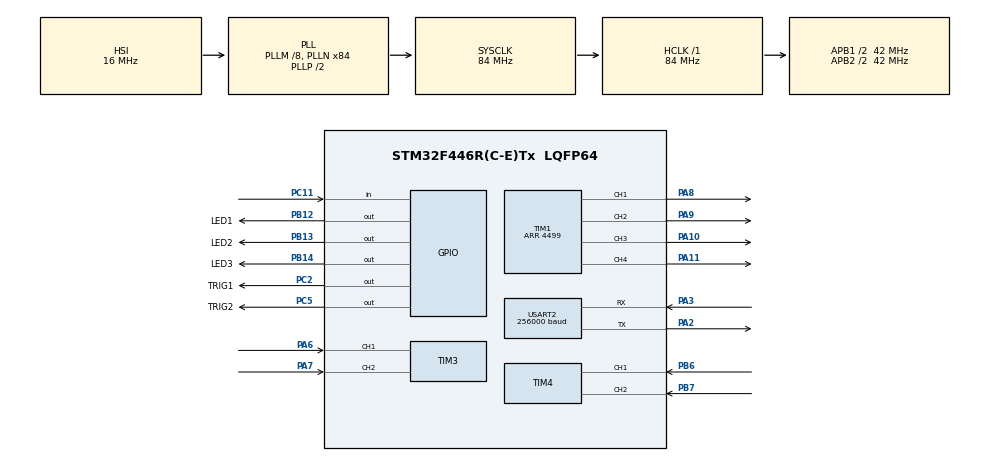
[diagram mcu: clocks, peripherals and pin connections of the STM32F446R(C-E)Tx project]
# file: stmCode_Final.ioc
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Dma.Request0=USART2_RX
Dma.Request1=USART2_TX
Dma.USART2_RX.0.Direction=DMA_PERIPH_TO_MEMORY
Dma.USART2_RX.0.FIFOMode=DMA_FIFOMODE_DISABLE
Dma.USART2_RX.0.Instance=DMA1_Stream5
Dma.USART2_RX.0.MemDataAlignment=DMA_MDATAALIGN_BYTE
Dma.USART2_RX.0.MemInc=DMA_MINC_ENABLE
Dma.USART2_RX.0.Mode=DMA_CIRCULAR
Dma.USART2_RX.0.PeriphDataAlignment=DMA_PDATAALIGN_BYTE
Dma.USART2_RX.0.PeriphInc=DMA_PINC_DISABLE
Dma.USART2_RX.0.Priority=DMA_PRIORITY_HIGH
Dma.USART2_TX.1.Direction=DMA_MEMORY_TO_PERIPH
Dma.USART2_TX.1.FIFOMode=DMA_FIFOMODE_DISABLE
Dma.USART2_TX.1.Instance=DMA1_Stream6
Dma.USART2_TX.1.MemDataAlignment=DMA_MDATAALIGN_BYTE
Dma.USART2_TX.1.MemInc=DMA_MINC_ENABLE
Dma.USART2_TX.1.Mode=DMA_NORMAL
Dma.USART2_TX.1.PeriphDataAlignment=DMA_PDATAALIGN_BYTE
Dma.USART2_TX.1.PeriphInc=DMA_PINC_DISABLE
Dma.USART2_TX.1.Priority=DMA_PRIORITY_HIGH
Mcu.Family=STM32F4
Mcu.Name=STM32F446R(C-E)Tx
Mcu.Package=LQFP64
NVIC.DMA1_Stream5_IRQn=true\:0\:0\:false\:false\:true\:false\:true\:true
NVIC.DMA1_Stream6_IRQn=true\:0\:0\:false\:false\:true\:false\:true\:true
NVIC.PriorityGroup=NVIC_PRIORITYGROUP_4
NVIC.TIM5_IRQn=true\:0\:0\:false\:false\:true\:true\:true\:true
NVIC.TIM7_IRQn=true\:0\:0\:false\:false\:true\:true\:true\:true
NVIC.USART2_IRQn=true\:0\:0\:false\:false\:true\:true\:true\:true
PA10.Signal=S_TIM1_CH3
PA11.Signal=S_TIM1_CH4
PA2.Mode=Asynchronous
PA2.Signal=USART2_TX
PA3.Mode=Asynchronous
PA3.Signal=USART2_RX
PA6.GPIO_PuPd=GPIO_PULLUP
PA6.Signal=S_TIM3_CH1
PA7.GPIO_PuPd=GPIO_PULLUP
PA7.Signal=S_TIM3_CH2
PA8.Signal=S_TIM1_CH1
PA9.Signal=S_TIM1_CH2
PB12.GPIO_Label=LED1
PB12.Signal=GPIO_Output
PB13.GPIO_Label=LED2
PB13.Signal=GPIO_Output
PB14.GPIO_Label=LED3
PB14.Signal=GPIO_Output
PB6.GPIO_PuPd=GPIO_PULLUP
PB6.Signal=S_TIM4_CH1
PB7.GPIO_PuPd=GPIO_PULLUP
PB7.Signal=S_TIM4_CH2
PC11.GPIO_PuPd=GPIO_PULLDOWN
PC11.Signal=GPIO_Input
PC2.GPIO_Label=TRIG1
PC2.Signal=GPIO_Output
PC5.GPIO_Label=TRIG2
PC5.Signal=GPIO_Output
PH0-OSC_IN.Mode=HSE-External-Oscillator
PH0-OSC_IN.Signal=RCC_OSC_IN
PH1-OSC_OUT.Mode=HSE-External-Oscillator
PH1-OSC_OUT.Signal=RCC_OSC_OUT
ProjectManager.HeapSize=0x200
ProjectManager.StackSize=0x400
ProjectManager.TargetToolchain=STM32CubeIDE
RCC.AHBFreq_Value=84000000
RCC.APB1CLKDivider=RCC_HCLK_DIV2
RCC.APB1Freq_Value=42000000
RCC.APB1TimFreq_Value=84000000
RCC.APB2CLKDivider=RCC_HCLK_DIV2
RCC.APB2Freq_Value=42000000
RCC.APB2TimFreq_Value=84000000
RCC.CortexFreq_Value=84000000
RCC.HCLKFreq_Value=84000000
RCC.PLLM=8
RCC.PLLN=84
RCC.SYSCLKFreq_VALUE=84000000
RCC.SYSCLKSource=RCC_SYSCLKSOURCE_PLLCLK
RCC.USBFreq_Value=84000000
RCC.VCOOutputFreq_Value=168000000
SH.S_TIM1_CH1.0=TIM1_CH1,PWM Generation1 CH1
SH.S_TIM1_CH2.0=TIM1_CH2,PWM Generation2 CH2
SH.S_TIM1_CH3.0=TIM1_CH3,PWM Generation3 CH3
SH.S_TIM1_CH4.0=TIM1_CH4,PWM Generation4 CH4
SH.S_TIM3_CH1.0=TIM3_CH1,Encoder_Interface
SH.S_TIM3_CH2.0=TIM3_CH2,Encoder_Interface
SH.S_TIM4_CH1.0=TIM4_CH1,Encoder_Interface
SH.S_TIM4_CH2.0=TIM4_CH2,Encoder_Interface
TIM1.Channel-PWM\ Generation1\ CH1=TIM_CHANNEL_1
TIM1.Channel-PWM\ Generation2\ CH2=TIM_CHANNEL_2
TIM1.Channel-PWM\ Generation3\ CH3=TIM_CHANNEL_3
TIM1.Channel-PWM\ Generation4\ CH4=TIM_CHANNEL_4
TIM1.Period=4499
TIM3.EncoderMode=TIM_ENCODERMODE_TI12
TIM4.EncoderMode=TIM_ENCODERMODE_TI12
TIM5.Period=65535
TIM5.Prescaler=0
TIM7.Period=999
TIM7.Prescaler=83
USART2.BaudRate=256000
USART2.VirtualMode=VM_ASYNC
VP_TIM5_VS_ClockSourceINT.Mode=Internal
VP_TIM7_VS_ClockSourceINT.Mode=Enable_Timer
board=NUCLEO-F446RE

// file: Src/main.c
/* USER CODE BEGIN Header */
/**
  ****************************************************************************
  * @file           : main.c
  * @brief          : Main program body
  ****************************************************************************
  * @attention
  *
  * <h2><center>&copy; Copyright (c) 2020 STMicroelectronics.
  * All rights reserved.</center></h2>
  *
  * This software component is licensed by ST under BSD 3-Clause license,
  * the "License"; You may not use this file except in compliance with the
  * License. You may obtain a copy of the License at:
  *                        opensource.org/licenses/BSD-3-Clause
  *
  ****************************************************************************
  */
//hahalolnoob
//tabdilaaaaa
//yametekudasai
/* USER CODE END Header */
#include "main.h"
#include "dma.h"
#include "tim.h"
#include "usart.h"
#include "gpio.h"

/* USER CODE BEGIN Includes */
#include "Odometry.h"
#include "Robot_Navi_Euro20.h"
#include "Motors.h"
#include <stdbool.h>
#include <stmRos.h>

#include <stmRos.h>

extern int sum;
extern bool evitementFlag;
extern volatile float current_x;
extern volatile float current_y;
extern volatile float left_radius,right_radius,spacing_encoder,spacing_wheel;

extern float** matrix;
int taille;
extern float Vx;
extern float Vz;
float PWMR,PWML,PWM_linear,PWM_angular;
int PWM;
int PWM_Min=950;
extern uint32_t right_forward;
extern uint32_t right_backward;
extern uint32_t left_forward;
extern uint32_t left_backward;
extern TIM_HandleTypeDef* htim_Motors;

extern int right_correction,left_correction;
extern volatile float total_right,d_right_counter;
extern volatile float total_left,d_left_counter,total_centre;
extern int PWM_LB,PWM_RB;
extern int coef_correct_dist;
extern volatile long total_right_count;
extern volatile long total_left_count;
extern float test;

extern volatile float spacing_wheel;

double right_error1=0;
double i_right_error1=0;
double left_error1=0;
double i_left_error1=0;

extern float kp, ki;
float kpros=2, kiros=0;
extern volatile double left_speed,left_encoder_speed;
extern volatile double right_speed,right_encoder_speed;
extern volatile long t;
unsigned long long int delta=0,t0=0;
extern int PWM_L,PWM_R;
extern int i ;
extern char buf[64];

extern double v_rx ;
extern double omega_r ;

/* USER CODE END Includes */

/* USER CODE BEGIN PV */
/* Private variables ---------------------------------------------------------*/

/* USER CODE END PV */

void SystemClock_Config(void);
/* USER CODE BEGIN PFP */
/* Private function prototypes -----------------------------------------------*/

/* USER CODE END PFP */

/* USER CODE BEGIN 0 */

char uartBuf[100];

/* USER CODE END 0 */

int main(void)
{
  /* USER CODE BEGIN 1 */
	//uint32_t numTicks=0;

  /* USER CODE END 1 */

  /* MCU Configuration--------------------------------------------------------*/

  /* Reset of all peripherals, Initializes the Flash interface and the Systick. */
  HAL_Init();

  /* Configure the system clock */
  SystemClock_Config();

  /* Initialize all configured peripherals */
  MX_GPIO_Init();
  MX_DMA_Init();
  MX_USART2_UART_Init();
  MX_TIM3_Init();
  MX_TIM4_Init();
  MX_TIM7_Init();
  MX_TIM1_Init();
  MX_TIM5_Init();
  /* USER CODE BEGIN 2 */
  //set_dimentions(40,40,290,195);//291.28//291.35//39.98,39.37

    //robot kbir
    set_dimentions(40.45,40.1,252.5,105.5);//40.36836,40.59922,265,120.2 ROBOT PRINCIPAL
        set_motors(&htim1,4499,TIM_CHANNEL_3,TIM_CHANNEL_4,TIM_CHANNEL_1,TIM_CHANNEL_2);
        set_right_encoder(&htim3,TIM3,400,4,-1);//400 ROBOT KBIR
        set_left_encoder(&htim4,TIM4,400,4,-1);
        HAL_TIM_Base_Start_IT(&htim7);
        set_PWM_min (200,200,200,200);

        setup();

        //orientate(0,500);
//        HAL_Delay(1000);
//
//        orientate(-90,500);
//        HAL_Delay(1000);
//
//        orientate(180,500);
//        HAL_Delay(1000);
//
//        orientate(90,500);
//        HAL_Delay(1000);
 // run_forward(1000, 1000);

  //rotate(360,100);
//  move_distance(1000,550);
// rotate(180,350);

 //  Robot_Locate(500, 500, 500);
//Robot_Locate(0, 1000, 500);

//HAL_Delay(100);
//ledblink();
 //move_distance(1000, 500);
 //HAL_Delay(100);
 //calcul_distance2();
 //HAL_Delay(100);
 //calculultrason();
 //HAL_Delay(400);
 //move_distance(300,600);
 //HAL_Delay(100);
 //calcul_distance2();
 //HAL_Delay(100);
 //calculultrason();
  //HAL_Delay(400);
 //move_distance(300, 600);
 //HAL_Delay(100);
 //calcul_distance2();
 //HAL_Delay(100);
 //calculultrason();
  //HAL_Delay(400);
 //move_distance(300, 600);
 //HAL_Delay(5000);
 //HAL_GPIO_WritePin(LED_GPIO_Port2, LED_Pin2, GPIO_PIN_RESET);
 /*HAL_GPIO_WritePin(LED_GPIO_Port1, LED_Pin1, GPIO_PIN_RESET);
 HAL_GPIO_WritePin(LED_GPIO_Port3, LED_Pin3, GPIO_PIN_RESET);
 move_distance(850, 600);
 rotate(90, 300);
 calcul_cube();
 rotate(91.5,400); // hethiiiiiiiiiiiiiiiiiiiiiiiiiiiiiiiiiiiiiiiiiiiiiiiiiiiii 88
 move_distance(2020,600);
 rotate(90,500);
 //Robot_locateCurv(40, -460,90, 500);
 Robot_locateCurv(-10, -1000,85, 600);
 orientate(90,500);
 asta3(500, 300);
 //Robot_Locate_Multi_Curv(l, 2, 500);
 move_distance(-400,600);
 rotate(90,500);
 move_distance(640, 600);
 HAL_Delay(5000);
 move_distance(-640, 600);
 rotate(90,500);
 move_distance(660, 600);
 rotate(-90,500);move_distance(500,500);
 move_distance(1950, 600);
 rotate(-90,500);
 move_distance(1430, 600);
 rotate(-90,500);
 move_distance(1950, 600);
 //orientate(-90,300);
 //hez_cube();
 //move_distance(900, 500);
 //hot_cube();
  //move_distance(-430, 300);
 //orientate(0, 300);
 //move_distance(640, 500);
*/
// loop();
 	// run_forward(3000, 3000);
// 	HAL_Delay(1500);
 //      PWM_R=-4000;
 	//  PWM_L=4000;
 //	 	run_motors();
//	 	 HAL_Delay(5000);
// 	stop_motors();
// 	 	HAL_Delay(1500);
 	 //	PWM_R=2000;
	 //	 	 PWM_L=2000;
 	 	// run_motors();
// 	 	 	 HAL_Delay(1500);
// 	 	 	 stop_motors();
// 	 	 	HAL_Delay(1500);
//        		 PWM_R=2000;
// 	 	 	 	 PWM_L=-2000;
// 	 	 	 	 run_motors();
// 	 	 	 	 HAL_Delay(5000);
// 	 	 	 	 stop_motors();
// 	 	 	 	HAL_Delay(1500);
     //move_distance(500, 300);
  /* USER CODE END 2 */

  /* Infinite loop */
  /* USER CODE BEGIN WHILE */
  while (1)
  {
	  //move_distance(500,500);
	 loop();
//	 HAL_Delay(5);//badel delay

    /* USER CODE END WHILE */

    /* USER CODE BEGIN 3 */

	 //tasliiiiiiiii7
  }

  /* USER CODE END 3 */
}

void SystemClock_Config(void)
{
  RCC_OscInitTypeDef RCC_OscInitStruct = {0};
  RCC_ClkInitTypeDef RCC_ClkInitStruct = {0};

  /** Configure the main internal regulator output voltage
  */
  __HAL_RCC_PWR_CLK_ENABLE();
  __HAL_PWR_VOLTAGESCALING_CONFIG(PWR_REGULATOR_VOLTAGE_SCALE3);

  /** Initializes the RCC Oscillators according to the specified parameters
  * in the RCC_OscInitTypeDef structure.
  */
  RCC_OscInitStruct.OscillatorType = RCC_OSCILLATORTYPE_HSI;
  RCC_OscInitStruct.HSIState = RCC_HSI_ON;
  RCC_OscInitStruct.HSICalibrationValue = RCC_HSICALIBRATION_DEFAULT;
  RCC_OscInitStruct.PLL.PLLState = RCC_PLL_ON;
  RCC_OscInitStruct.PLL.PLLSource = RCC_PLLSOURCE_HSI;
  RCC_OscInitStruct.PLL.PLLM = 8;
  RCC_OscInitStruct.PLL.PLLN = 84;
  RCC_OscInitStruct.PLL.PLLP = RCC_PLLP_DIV2;
  RCC_OscInitStruct.PLL.PLLQ = 2;
  RCC_OscInitStruct.PLL.PLLR = 2;
  if (HAL_RCC_OscConfig(&RCC_OscInitStruct) != HAL_OK)
  {
    Error_Handler();
  }

  /** Initializes the CPU, AHB and APB buses clocks
  */
  RCC_ClkInitStruct.ClockType = RCC_CLOCKTYPE_HCLK|RCC_CLOCKTYPE_SYSCLK
                              |RCC_CLOCKTYPE_PCLK1|RCC_CLOCKTYPE_PCLK2;
  RCC_ClkInitStruct.SYSCLKSource = RCC_SYSCLKSOURCE_PLLCLK;
  RCC_ClkInitStruct.AHBCLKDivider = RCC_SYSCLK_DIV1;
  RCC_ClkInitStruct.APB1CLKDivider = RCC_HCLK_DIV2;
  RCC_ClkInitStruct.APB2CLKDivider = RCC_HCLK_DIV2;

  if (HAL_RCC_ClockConfig(&RCC_ClkInitStruct, FLASH_LATENCY_2) != HAL_OK)
  {
    Error_Handler();
  }
}

/* USER CODE BEGIN 4 */
extern volatile long t;
void HAL_TIM_PeriodElapsedCallback(TIM_HandleTypeDef *htim)
{
	if (htim->Instance==TIM7) //check if the interrupt comes from TIM7
	{
		update_position();
		PWM_sign_change_counter();
		if (t%T == 0){
//				loop();
			speed_calcul();

		}

	}
}
/* USER CODE END 4 */

void Error_Handler(void)
{
}
